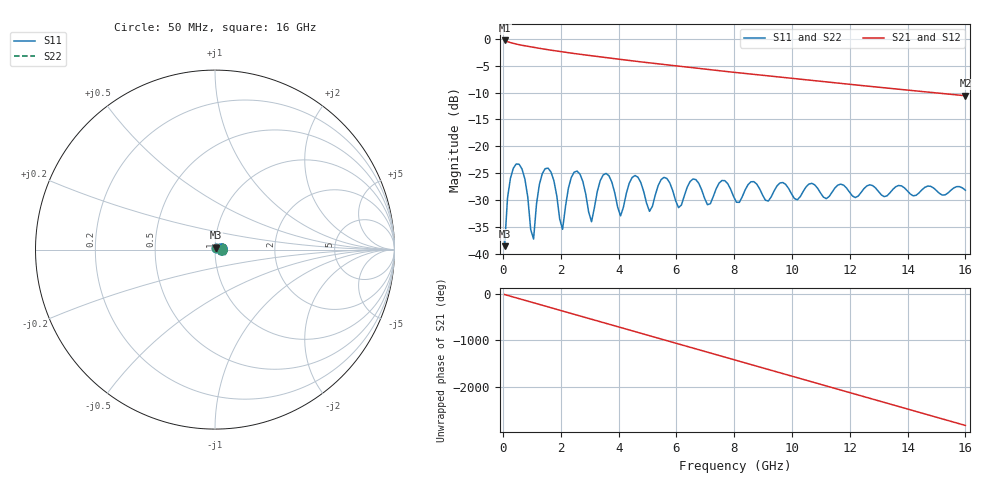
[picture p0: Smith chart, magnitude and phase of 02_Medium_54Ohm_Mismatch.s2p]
! Touchstone 1.1 File - Medium 80mm Trace with 54-Ohm Impedance Mismatch
! Ports: 2 | Reference Impedance: 50 Ohms
# GHz S RI R 50
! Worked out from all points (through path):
!   160 points, 50 MHz to 16 GHz, reference 50 ohm
!   highest |S21| = -0.27 dB at 50 MHz (marker M1); lowest = -10.6 dB at 16 GHz (marker M2)
!   group delay of S21, straight-line fit = 492 ps
!   lowest |S11| = -38.6 dB at 50 MHz (marker M3), VSWR 1.02, Z = 50.4 + j1.11 ohm
!   |S11| at or under -10 dB: start of sweep to end of sweep
!   |S22| runs from -38.6 to -23.3 dB; largest |S21 - S12| = 0
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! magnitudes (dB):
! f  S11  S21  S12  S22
! 50 MHz  -38.6  -0.3  -0.3  -38.6
! 150.3 MHz  -29.7  -0.5  -0.5  -29.7
! 451.3 MHz  -23.3  -0.9  -0.9  -23.3
! 752.2 MHz  -26.1  -1.3  -1.3  -26.1
! 1.053 GHz  -37.3  -1.5  -1.5  -37.3
! 1.254 GHz  -27.1  -1.7  -1.7  -27.1
! 1.454 GHz  -24.2  -1.9  -1.9  -24.2
! 2.056 GHz  -35.5  -2.4  -2.4  -35.5
! 2.357 GHz  -25.8  -2.6  -2.6  -25.8
! 2.758 GHz  -26.6  -2.9  -2.9  -26.6
! 3.059 GHz  -34.1  -3.1  -3.1  -34.1
! 3.461 GHz  -25.3  -3.4  -3.4  -25.3
! 4.063 GHz  -33.0  -3.8  -3.8  -33.0
! 4.464 GHz  -25.8  -4.1  -4.1  -25.8
! 5.066 GHz  -32.1  -4.4  -4.4  -32.1
! 5.367 GHz  -27.3  -4.6  -4.6  -27.3
! 6.069 GHz  -31.4  -5.1  -5.1  -31.4
! 7.674 GHz  -26.4  -6.0  -6.0  -26.4
! 8.075 GHz  -30.4  -6.3  -6.3  -30.4
! 10.78 GHz  -27.2  -7.8  -7.8  -27.2
! 13.39 GHz  -28.7  -9.2  -9.2  -28.7
! 16 GHz  -28.2  -10.6  -10.6  -28.2
